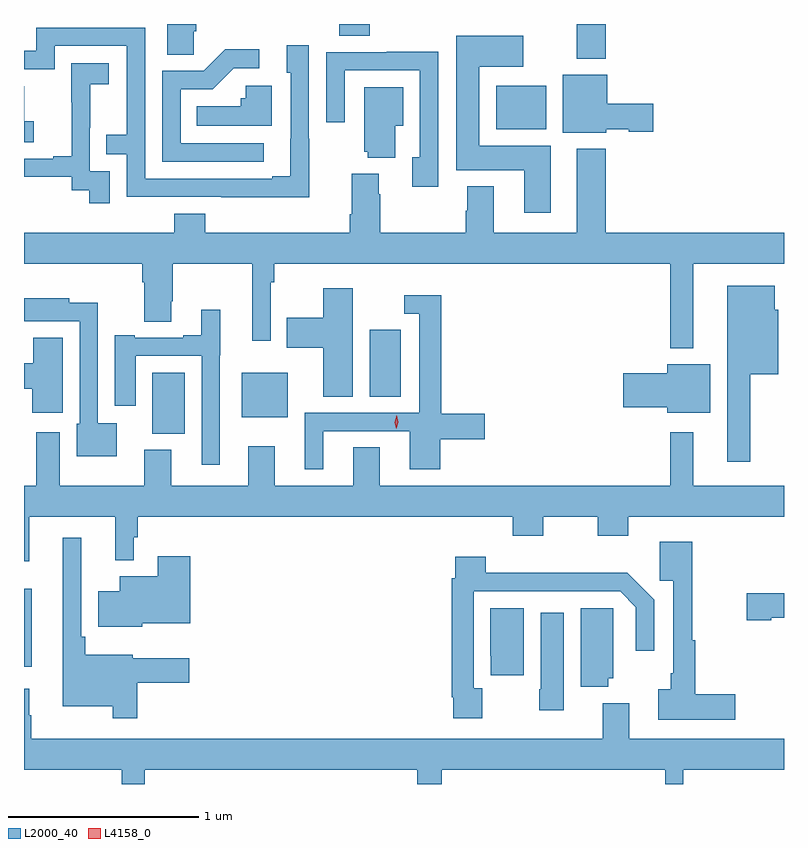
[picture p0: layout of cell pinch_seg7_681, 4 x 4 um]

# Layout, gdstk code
import gdstk
lib = gdstk.Library(unit=1e-6, precision=1e-09)
def R(c, l, rs):  # rectangles x0, y0, x1, y1
    for r in rs: c.add(gdstk.rectangle(r[:2], r[2:], *l))
def P(c, l, *ps):  # polygons
    for p in ps: c.add(gdstk.Polygon(p, *l))
L2000_40 = (2000, 40)
L4158_0 = (4158, 0)

pinch_seg7_681 = lib.new_cell('pinch_seg7_681')
R(pinch_seg7_681, L2000_40, [(336.469,1037.123,336.511,1037.533), (337.145,1038.35,337.315,1038.67), (337.616,1038.437,337.858,1038.67), (338.288,1038.544,338.452,1038.898), (338.954,1039.952,339.217,1040.182), (339.377,1040.324,339.53,1040.506), (338.129,1040.443,338.289,1040.506)])
P(pinch_seg7_681, L2000_40, [(337.362,1040.467),(337.376,1040.467),(337.376,1040.506),(337.223,1040.506),(337.223,1040.344),(337.362,1040.344)],
  [(337.971,1039.901),(337.968,1039.901),(337.968,1040.395),(337.853,1040.395),(337.853,1040.25),(337.872,1040.25),(337.872,1039.901),(337.871,1039.901),(337.871,1039.705),(337.775,1039.705),(337.775,1039.692),(337.107,1039.692),(337.107,1040.487),(336.533,1040.487),(336.533,1040.364),(336.469,1040.364),(336.469,1040.268),(336.63,1040.268),(336.63,1040.391),(337.011,1040.391),(337.011,1039.922),(336.901,1039.922),(336.901,1039.821),(337.011,1039.821),(337.011,1039.596),(337.507,1039.596),(337.507,1039.595),(337.971,1039.595)],
  [(339.241,1039.864),(338.866,1039.864),(338.866,1040.282),(339.097,1040.282),(339.097,1040.443),(338.744,1040.443),(338.744,1039.736),(339.101,1039.736),(339.101,1039.512),(339.241,1039.512)],
  [(337.732,1039.878),(337.293,1039.878),(337.293,1040.163),(337.462,1040.163),(337.573,1040.274),(337.708,1040.274),(337.708,1040.372),(337.529,1040.372),(337.416,1040.259),(337.197,1040.259),(337.197,1039.782),(337.732,1039.782)],
  [(338.649,1040.36),(338.377,1040.36),(338.377,1040.358),(338.061,1040.358),(338.061,1039.989),(338.157,1039.989),(338.157,1040.262),(338.553,1040.262),(338.553,1039.805),(338.513,1039.805),(338.513,1039.65),(338.649,1039.65)],
  [(336.921,1039.731),(336.816,1039.731),(336.816,1039.961),(336.818,1039.961),(336.818,1040.189),(336.916,1040.189),(336.916,1040.299),(336.718,1040.299),(336.718,1040.093),(336.719,1040.093),(336.719,1039.81),(336.623,1039.81),(336.623,1039.797),(336.469,1039.797),(336.469,1039.701),(336.72,1039.701),(336.72,1039.632),(336.813,1039.632),(336.813,1039.563),(336.921,1039.563)],
  [(339.534,1039.952),(339.651,1039.952),(339.651,1039.94),(339.781,1039.94),(339.781,1040.087),(339.538,1040.087),(339.538,1040.239),(339.305,1040.239),(339.305,1039.934),(339.534,1039.934)],
  [(337.774,1040.182),(337.635,1040.182),(337.635,1040.115),(337.609,1040.115),(337.609,1040.074),(337.378,1040.074),(337.378,1039.97),(337.774,1039.97)],
  [(336.52,1039.993),(336.471,1039.993),(336.471,1040.178),(336.469,1040.178),(336.469,1039.884),(336.52,1039.884)],
  [(338.422,1039.97),(338.464,1039.97),(338.464,1040.173),(338.261,1040.173),(338.261,1039.833),(338.279,1039.833),(338.279,1039.802),(338.422,1039.802)],
  [(337.67,1038.84),(337.767,1038.84),(337.767,1039.148),(337.787,1039.148),(337.787,1039.244),(339.87,1039.244),(339.87,1038.8),(339.991,1038.8),(339.991,1039.244),(340.469,1039.244),(340.469,1039.408),(339.53,1039.408),(339.53,1039.849),(339.377,1039.849),(339.377,1039.408),(338.941,1039.408),(338.941,1039.651),(338.801,1039.651),(338.801,1039.524),(338.794,1039.524),(338.794,1039.408),(338.343,1039.408),(338.343,1039.61),(338.335,1039.61),(338.335,1039.717),(338.195,1039.717),(338.195,1039.504),(338.183,1039.504),(338.183,1039.408),(337.424,1039.408),(337.424,1039.507),(337.259,1039.507),(337.259,1039.408),(336.469,1039.408),(336.469,1039.244),(337.091,1039.244),(337.091,1039.148),(337.103,1039.148),(337.103,1038.94),(337.243,1038.94),(337.243,1039.048),(337.251,1039.048),(337.251,1039.244),(337.67,1039.244)],
  [(340.291,1038.662),(340.438,1038.662),(340.438,1039.002),(340.42,1039.002),(340.42,1039.129),(340.169,1039.129),(340.169,1038.201),(340.291,1038.201)],
  [(338.2,1039.114),(338.045,1039.114),(338.045,1038.961),(337.852,1038.961),(337.852,1038.803),(338.045,1038.803),(338.045,1038.544),(338.2,1038.544)],
  [(338.044,1038.363),(338.498,1038.363),(338.498,1038.162),(338.66,1038.162),(338.66,1038.32),(338.893,1038.32),(338.893,1038.455),(338.666,1038.455),(338.666,1039.078),(338.469,1039.078),(338.469,1038.981),(338.55,1038.981),(338.55,1038.459),(337.946,1038.459),(337.946,1038.162),(338.044,1038.162)],
  [(336.958,1038.406),(336.858,1038.406),(336.858,1039.04),(336.708,1039.04),(336.708,1039.063),(336.469,1039.063),(336.469,1038.941),(336.551,1038.941),(336.551,1038.942),(336.762,1038.942),(336.762,1038.402),(336.746,1038.402),(336.746,1038.23),(336.958,1038.23)],
  [(337.5,1038.762),(337.501,1038.762),(337.501,1039.003),(337.403,1039.003),(337.403,1038.868),(337.307,1038.868),(337.307,1038.855),(337.051,1038.855),(337.051,1038.868),(336.947,1038.868),(336.947,1038.498),(337.057,1038.498),(337.057,1038.759),(337.404,1038.759),(337.404,1038.186),(337.5,1038.186)],
  [(336.673,1038.856),(336.517,1038.856),(336.517,1038.721),(336.469,1038.721),(336.469,1038.587),(336.512,1038.587),(336.512,1038.459),(336.673,1038.459)],
  [(340.081,1038.715),(339.854,1038.715),(339.854,1038.668),(339.624,1038.668),(339.624,1038.49),(339.854,1038.49),(339.854,1038.461),(340.081,1038.461)],
  [(336.497,1037.912),(336.95,1037.912),(336.95,1037.684),(337.047,1037.684),(337.047,1037.805),(337.067,1037.805),(337.067,1037.912),(339.041,1037.912),(339.041,1037.813),(339.201,1037.813),(339.201,1037.912),(339.49,1037.912),(339.49,1037.813),(339.65,1037.813),(339.65,1037.912),(340.469,1037.912),(340.469,1038.076),(339.991,1038.076),(339.991,1038.358),(339.87,1038.358),(339.87,1038.076),(338.341,1038.076),(338.341,1038.278),(338.201,1038.278),(338.201,1038.076),(337.789,1038.076),(337.789,1038.283),(337.649,1038.283),(337.649,1038.076),(337.243,1038.076),(337.243,1038.265),(337.103,1038.265),(337.103,1038.076),(336.658,1038.076),(336.658,1038.358),(336.533,1038.358),(336.533,1038.076),(336.469,1038.076),(336.469,1037.679),(336.497,1037.679)],
  [(337.064,1037.038),(337.339,1037.038),(337.339,1037.167),(337.041,1037.167),(337.041,1037.185),(336.791,1037.185),(336.791,1037.281),(336.771,1037.281),(336.771,1037.803),(336.674,1037.803),(336.674,1036.916),(336.936,1036.916),(336.936,1036.851),(337.064,1036.851)],
  [(340.213,1036.978),(340.001,1036.978),(340.001,1037.262),(339.986,1037.262),(339.986,1037.782),(339.816,1037.782),(339.816,1037.577),(339.885,1037.577),(339.885,1037.089),(339.873,1037.089),(339.873,1037.006),(339.807,1037.006),(339.807,1036.844),(340.213,1036.844)],
  [(337.092,1037.351),(337.343,1037.351),(337.343,1037.704),(337.172,1037.704),(337.172,1037.599),(336.974,1037.599),(336.974,1037.521),(336.86,1037.521),(336.86,1037.333),(337.092,1037.333)],
  [(338.881,1037.011),(338.835,1037.011),(338.835,1037.52),(339.606,1037.52),(339.69,1037.436),(339.69,1037.208),(339.786,1037.208),(339.786,1037.476),(339.645,1037.618),(338.899,1037.618),(338.899,1037.701),(338.738,1037.701),(338.738,1037.588),(338.719,1037.588),(338.719,1036.963),(338.727,1036.963),(338.727,1036.851),(338.881,1036.851)],
  [(340.401,1037.381),(340.469,1037.381),(340.469,1037.511),(340.272,1037.511),(340.272,1037.369),(340.401,1037.369)],
  [(339.543,1037.063),(339.571,1037.063),(339.571,1037.431),(339.398,1037.431),(339.398,1037.017),(339.543,1037.017)],
  [(339.1,1037.431),(338.924,1037.431),(338.924,1037.182),(338.925,1037.182),(338.925,1037.079),(339.1,1037.079)],
  [(339.31,1037.407),(339.188,1037.407),(339.188,1037.005),(339.181,1037.005),(339.181,1036.893),(339.31,1036.893)],
  [(337.105,1036.58),(338.539,1036.58),(338.539,1036.506),(338.668,1036.506),(338.668,1036.58),(339.843,1036.58),(339.843,1036.506),(339.94,1036.506),(339.94,1036.58),(340.469,1036.58),(340.469,1036.744),(339.655,1036.744),(339.655,1036.932),(339.515,1036.932),(339.515,1036.744),(336.508,1036.744),(336.508,1036.868),(336.496,1036.868),(336.496,1037.007),(336.469,1037.007),(336.469,1036.58),(336.984,1036.58),(336.984,1036.506),(337.105,1036.506)])
P(pinch_seg7_681, L4158_0, [(338.429,1038.375),(338.429,1038.375),(338.42,1038.411),(338.432,1038.447),(338.432,1038.447),(338.432,1038.447),(338.44,1038.41),(338.429,1038.375)])

lib.write_gds('pinch_seg7_681.gds')
